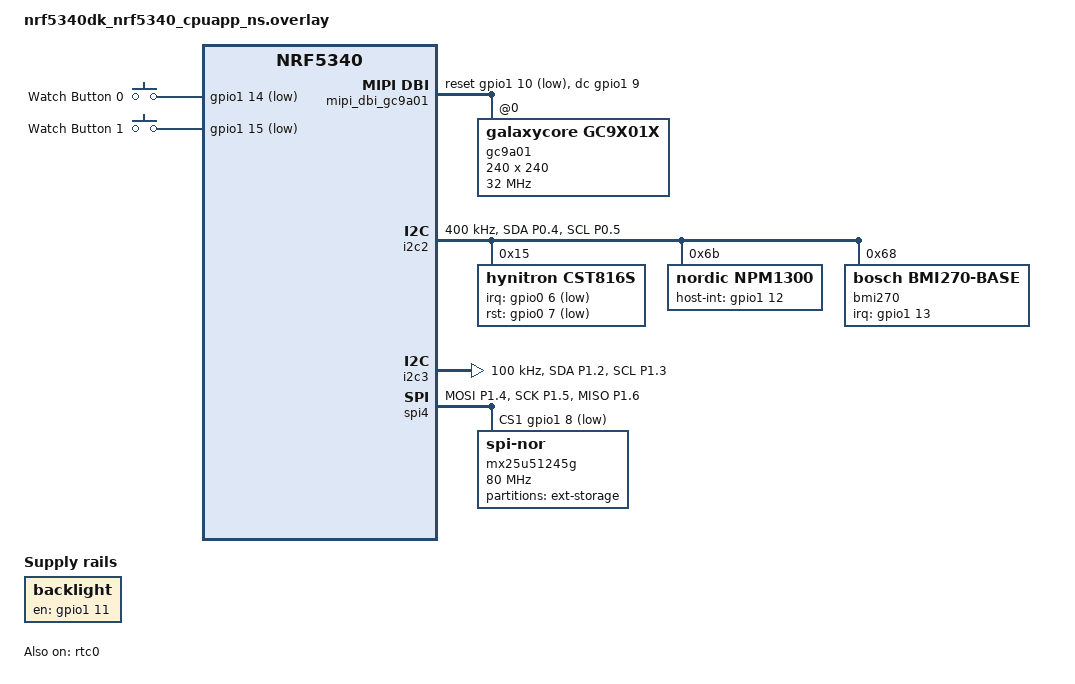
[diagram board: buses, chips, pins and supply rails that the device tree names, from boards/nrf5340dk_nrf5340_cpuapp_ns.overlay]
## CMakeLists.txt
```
cmake_minimum_required(VERSION 3.20.0)
find_package(Zephyr REQUIRED HINTS $ENV{ZEPHYR_BASE})
project(smartwatch)

target_sources(app PRIVATE
    src/main.c
    src/rtc/rtc.c
    src/pmic/pmic.c
    src/sensor/sensor.c
    src/touch/touch.c
    src/display/display.c
    src/display/watchface.c
    src/display/test_screen.c
    src/display/module_screen.c
    src/expansion/expansion.c
    src/expansion/expansion_transport.c
    src/expansion/expansion_mock.c
    src/storage/storage.c
    src/ble/ble.c
    src/buttons/buttons.c
)

target_include_directories(app PRIVATE src)
```

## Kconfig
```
# FinWatch application Kconfig

menu "FinWatch"

config FINWATCH_EXPANSION_MOCK
	bool "Use a mock expansion module instead of real I2C"
	default n
	help
	  Replaces the I2C transport for the modular expansion port with an
	  in-memory mock that serves a canned "Test Dial" descriptor and a
	  rotating input report.

	  This lets the enumeration state machine, descriptor validation and
	  module UI be developed and tested before any physical expansion
	  hardware exists. It also exposes fault-injection hooks so the
	  host's descriptor-rejection paths can actually be exercised.

	  Turn this off to talk to a real module over i2c3.

endmenu

source "Kconfig.zephyr"
```

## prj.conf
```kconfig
# =============================================================================
# FinWatch — nRF5340 smartwatch (NCS v3.2.1)
# =============================================================================
# Rules:
#  - No inline comments after values (Kconfig treats them as part of the value)
#  - Symbols auto-selected by DT (e.g. MFD_NPM1300) must NOT be set here

# ---- Debug / UART console ----
CONFIG_SERIAL=y
CONFIG_UART_CONSOLE=y
CONFIG_PRINTK=y
CONFIG_LOG=y
# 0=off 1=ERR 2=WRN 3=INF 4=DBG
CONFIG_LOG_DEFAULT_LEVEL=3

# ---- Buses ----
CONFIG_I2C=y
CONFIG_SPI=y
CONFIG_GPIO=y

# ---- Input subsystem (touch + buttons) ----
CONFIG_INPUT=y
# NCS >= 4.4: rename to CONFIG_INPUT_CST8XX=y
CONFIG_INPUT_CST816S=y

# ---- Display: MIPI DBI + GC9A01 ----
CONFIG_DISPLAY=y
CONFIG_MIPI_DBI=y
CONFIG_GC9X01X=y

# ---- LVGL ----
CONFIG_LVGL=y
CONFIG_LV_COLOR_DEPTH_16=y
# LV_Z_DISPLAY_DEV_PATH removed — NCS v3.2.1 auto-discovers from zephyr,display chosen node
CONFIG_LV_Z_MEM_POOL_SIZE=65536
# mipi_dbi_spi.c uses blocking spi_write(), so double-buffering (LV_Z_DOUBLE_VDB)
# gives no real parallelism — rendering can't overlap a blocking flush anyway.
# A single full-frame buffer instead means one render+flush pass per screen
# update rather than several chunked ones, which is what was causing choppy
# full-screen slide animations. 240x240x2 bytes = 115200 B for one buffer.
CONFIG_LV_Z_VDB_SIZE=50
CONFIG_LV_Z_FULL_REFRESH=y

# ---- Built-in LVGL fonts used by watchface.c ----
CONFIG_LV_FONT_MONTSERRAT_28=y
CONFIG_LV_FONT_MONTSERRAT_14=y

# ---- Sensors: BMI270 ----
# The Bosch driver exposes the sensor's any-motion feature as SENSOR_TRIG_MOTION
# on INT1, so unlike the previous part we let the driver own the interrupt
# instead of programming the feature registers by hand. The CPU stays asleep
# until the wrist actually moves.
CONFIG_SENSOR=y
CONFIG_BMI270=y
CONFIG_BMI270_TRIGGER_GLOBAL_THREAD=y

# ---- PMIC: npm1300 ----
# MFD_NPM1300 / REGULATOR_NPM1300 / CHARGER_NPM1300 are auto-selected
# from the DT compatible strings — do NOT set them here in NCS v3.2.1.
CONFIG_MFD=y
CONFIG_REGULATOR=y
CONFIG_REGULATOR_FIXED=y
CONFIG_CHARGER=y

# ---- External SPI NOR flash (MX25U51245G) ----
CONFIG_FLASH=y
CONFIG_FLASH_PAGE_LAYOUT=y
CONFIG_FLASH_MAP=y
CONFIG_SPI_NOR=y
CONFIG_SPI_NOR_SFDP_MINIMAL=y
# Allow flash_area_open() to resolve DT_FIXED_PARTITION_ID() values directly,
# bypassing the NCS PM macro override for external flash DT partitions.
CONFIG_FLASH_MAP_LABELS=y

# ---- LittleFS on external flash ----
CONFIG_FILE_SYSTEM=y
CONFIG_FILE_SYSTEM_LITTLEFS=y

# ---- Counter API (LFXO RTC) ----
CONFIG_COUNTER=y

# ---- Modular expansion port (I2C pogo pins) ----
# CRC gates subsys/crc, which provides crc16_ccitt() for descriptor integrity.
CONFIG_CRC=y
# Mock module on by default so the expansion UI is testable without hardware.
# Set to n to talk to a real module over i2c3.
CONFIG_FINWATCH_EXPANSION_MOCK=y

# ---- Bluetooth LE ----
# BT_HCI_IPC is auto-selected by the nRF5340 board Kconfig
CONFIG_BT=y
CONFIG_BT_PERIPHERAL=y
CONFIG_BT_DEVICE_NAME="FinWatch"
CONFIG_BT_DEVICE_NAME_DYNAMIC=y
CONFIG_BT_SMP=y
CONFIG_BT_SETTINGS=y
CONFIG_SETTINGS=y
# Use NVS on the internal flash "storage" partition for BT settings —
# decouples bonding storage from the external SPI-NOR (which may not be
# mounted, e.g. during DK bring-up). Default backend would otherwise be
# SETTINGS_FILE (since CONFIG_FILE_SYSTEM=y), which needs /lfs mounted.
CONFIG_NVS=y
CONFIG_SETTINGS_NVS=y
CONFIG_BT_BAS=y
CONFIG_BT_GATT_SERVICE_CHANGED=y

# ---- Memory ----
CONFIG_HEAP_MEM_POOL_SIZE=16384
CONFIG_MAIN_STACK_SIZE=4096

# ---- Power management ----
# CONFIG_PM is not available on nRF5340 in NCS v3.2.1 (HAS_PM=n).
# CONFIG_PM_DEVICE and CONFIG_PM_DEVICE_RUNTIME removed accordingly.
```

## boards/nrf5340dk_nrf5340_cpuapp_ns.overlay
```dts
/*
 * Smartwatch board overlay: nRF5340 Application Core (Non-Secure / TF-M)
 * Target: nRF5340 DK (nrf5340dk/nrf5340/cpuapp/ns) for bring-up / prototyping.
 *
 * ── nRF5340 DK pin map ───────────────────────────────────────────────────────
 *  TAKEN by DK hardware:
 *    UART0 console : P0.20 TX / P0.22 RX / P0.19 RTS / P0.21 CTS
 *    UART1 arduino : P1.01 TX / P1.00 RX / P0.11 RTS / P0.10 CTS
 *    QSPI int.flash: P0.13-P0.18
 *    DK LEDs       : P0.28 LED0 / P0.29 LED1 / P0.30 LED2 / P0.31 LED3
 *    DK Buttons    : P0.23 SW1  / P0.24 SW2  / P0.08 SW3  / P0.09 SW4
 *    Arduino I2C   : P1.02 SDA / P1.03 SCL  (TWIM1 = secure under TF-M)
 *    Arduino SPI   : P1.13 MOSI / P1.14 MISO / P1.15 SCK  ← disabled below
 *    ADC / analog  : P0.04-P0.07 (A0-A3), P0.25 A4, P0.26 A5
 *
 *  All signals in this file use the Arduino header (P3) unless noted.
 *
 * ── Our pin assignments for DK bring-up ─────────────────────────────────────
 *  I2C2 (TWIM2)  SDA P0.04 (A0)    SCL P0.05 (A1)
 *  SPI4 (SPIM4)  MOSI P1.04 (D2)   SCK P1.05 (D3)   MISO P1.06 (D4)
 *  I2C3 (TWIM3)  SDA P1.02 (D14)   SCL P1.03 (D15) : expansion port
 *  DISP_CS       P1.07 (D5)  : SPI4 cs-gpios[0]
 *  FLASH_CS      P1.08 (D6)  : SPI4 cs-gpios[1]
 *  DISP_DC       P1.09 (D7)
 *  DISP_RST      P1.10 (D8)
 *  DISP_BL       P1.11 (D9)
 *  TOUCH_IRQ     P0.06 (A2)
 *  TOUCH_RST     P0.07 (A3)
 *  PMIC_INT      P1.12 (D10)
 *  IMU_INT1      P1.13 (D11)
 *  BTN0          P1.14 (D12)
 *  BTN1          P1.15 (D13)
 *
 * ── Peripheral / bus map ─────────────────────────────────────────────────────
 * nRF5340 groups serial peripherals into "boxes" by base address; nodes in
 * the same box are mutually exclusive (build-time BUILD_ASSERT enforces it).
 *
 *  box 0 @8000  i2c0/spi0/uart0: UARTE0 = console (DK default)
 *  box 1 @9000  i2c1/spi1/uart1: TF-M secure logging UART (unavailable to NS)
 *  box 2 @b000  i2c2/spi2/uart2: TWIM2 = main I2C: CST816S + BMI270 + npm1300
 *  box 3 @c000  i2c3/spi3/uart3: TWIM3 = expansion port (SPIM3 disabled)
 *  box 4 @a000  spi4 only      : SPIM4 = GC9A01 display + MX25U51245G flash
 *
 * SPIM4 is the only box with no I2C/UART sibling, and is the only instance
 * that runs at 32 MHz (the rest cap at 8 MHz): so the display lives there
 * and box 3 is left free for the expansion I2C.
 *
 * EXPANSION PORT PINS: production board uses P0.30/P0.31; the DK uses
 * P1.02/P1.03 because P0.30/P0.31 have LEDs wired to them on the DK.
 * See the i2c3_default pinctrl block below.
 */

#include <zephyr/dt-bindings/pinctrl/nrf-pinctrl.h>
#include <zephyr/dt-bindings/display/panel.h>
#include <zephyr/dt-bindings/input/input-event-codes.h>

/* ======================================================================
 * Pin-control groups
 * ====================================================================== */

&pinctrl {

    /* ---- I2C2 (main bus): A0 / A1 on Arduino header ---- */
    i2c2_default: i2c2_default {
        group1 {
            psels = <NRF_PSEL(TWIM_SDA, 0, 4)>,   /* P0.04: Arduino A0 */
                    <NRF_PSEL(TWIM_SCL, 0, 5)>;    /* P0.05: Arduino A1 */
            bias-pull-up;
        };
    };
    i2c2_sleep: i2c2_sleep {
        group1 {
            psels = <NRF_PSEL(TWIM_SDA, 0, 4)>,
                    <NRF_PSEL(TWIM_SCL, 0, 5)>;
            low-power-enable;
        };
    };

    /*
     * SPI4 (SPIM4): display + flash on D2/D3/D4 (Arduino digital header).
     *
     * Moved here from SPIM3 to free peripheral box 3 (i2c3/spi3/uart3) for
     * the expansion port's TWIM3.  SPIM4 is its own box (@a000, no i2c4/uart4
     * sibling) so it conflicts with nothing.
     *
     * Bonus: SPIM4 tops out at 32 MHz vs 8 MHz for SPIM0-3, so the display
     * flush is 4x faster than it was on SPIM3.
     */
    /*
     * NOTE: deliberately NOT named spi4_default/spi4_sleep: the DK's
     * nrf5340_cpuapp_common-pinctrl.dtsi already defines those (at
     * P1.13-P1.15 for arduino_spi).  Reusing the names would merge into
     * those nodes and override properties piecemeal, which is easy to
     * misread.  Distinct names leave the DK's states unused and inert.
     */
    spi4_disp_default: spi4_disp_default {
        group1 {
            psels = <NRF_PSEL(SPIM_MOSI, 1, 4)>,  /* P1.04: Arduino D2 */
                    <NRF_PSEL(SPIM_SCK,  1, 5)>;   /* P1.05: Arduino D3 */
        };
        group2 {
            psels = <NRF_PSEL(SPIM_MISO, 1, 6)>;  /* P1.06: Arduino D4 (flash read) */
            bias-pull-down;
        };
    };
    spi4_disp_sleep: spi4_disp_sleep {
        group1 {
            psels = <NRF_PSEL(SPIM_MOSI, 1, 4)>,
                    <NRF_PSEL(SPIM_SCK,  1, 5)>,
                    <NRF_PSEL(SPIM_MISO, 1, 6)>;
            low-power-enable;
        };
    };

    /*
     * I2C3 (TWIM3): modular expansion port (pogo pins).
     *
     * PRODUCTION BOARD: SDA = P0.30, SCL = P0.31.
     * DK BRING-UP:      SDA = P1.02, SCL = P1.03 (Arduino D14/D15).
     *
     * P0.30/P0.31 are LED2/LED3 on the nRF5340 DK, with real LEDs and series
     * resistors wired to the rail.  I2C is open-drain and needs the line to
     * float high through a pull-up; the LED path to VDD injects current and
     * fights a proper logic low.  So the DK uses the Arduino I2C pins, which
     * are free because i2c1 (arduino_i2c) is disabled below.
     *
     * When moving to the custom PCB, swap the psels here to (0, 30)/(0, 31).
     */
    i2c3_default: i2c3_default {
        group1 {
            psels = <NRF_PSEL(TWIM_SDA, 1, 2)>,   /* P1.02: Arduino D14/SDA */
                    <NRF_PSEL(TWIM_SCL, 1, 3)>;    /* P1.03: Arduino D15/SCL */
            bias-pull-up;
        };
    };
    i2c3_sleep: i2c3_sleep {
        group1 {
            psels = <NRF_PSEL(TWIM_SDA, 1, 2)>,
                    <NRF_PSEL(TWIM_SCL, 1, 3)>;
            low-power-enable;
        };
    };
};

/* ======================================================================
 * RTC0: 32.768 kHz counter for the RTC module (rtc.c)
 * Both rtc0/rtc1 are disabled in the nRF5340 base DTSI; enable rtc0 here.
 * ====================================================================== */

&rtc0 {
    status = "okay";
};

/* ======================================================================
 * Disable peripherals that conflict with our pin assignments
 * ====================================================================== */

/* TWIM1 = peripheral 9, SECURE under TF-M */
&i2c1 {
    status = "disabled";
};

/*
 * SPIM3 is now unused: the display and flash moved to SPIM4 so that this
 * peripheral box (i2c3/spi3/uart3 @c000) is free for the expansion TWIM3.
 */
&spi3 {
    status = "disabled";
};

/* ======================================================================
 * I2C2: main bus: touch + PMIC + IMU
 * ====================================================================== */

&i2c2 {
    status = "okay";
    pinctrl-0 = <&i2c2_default>;
    pinctrl-1 = <&i2c2_sleep>;
    pinctrl-names = "default", "sleep";
    clock-frequency = <400000>;  /* 400 kHz (fast mode) */

    /* ---- CST816S capacitive touch controller ---- */
    cst816s: cst816s@15 {
        compatible = "hynitron,cst816s";
        reg = <0x15>;
        status = "okay";
        irq-gpios = <&gpio0 6 GPIO_ACTIVE_LOW>;    /* P0.06: Arduino A2 */
        rst-gpios = <&gpio0 7 GPIO_ACTIVE_LOW>;    /* P0.07: Arduino A3 */
    };

    /* ---- npm1300 PMIC ---- */
    npm1300: pmic@6b {
        compatible = "nordic,npm1300";
        reg = <0x6b>;
        status = "okay";
        host-int-gpios = <&gpio1 12 GPIO_ACTIVE_HIGH>;  /* P1.12: Arduino D10 */

        npm1300_buck1: BUCK1 {
            compatible = "nordic,npm1300-regulator";
        };

        npm1300_buck2: BUCK2 {
            compatible = "nordic,npm1300-regulator";
        };

        npm1300_ldo1: LDO1 {
            compatible = "nordic,npm1300-regulator";
        };

        npm1300_ldo2: LDO2 {
            compatible = "nordic,npm1300-regulator";
        };

        /* Charger: update current-microamp to ~0.5C of your battery */
        npm1300_charger: charger {
            compatible = "nordic,npm1300-charger";
            term-microvolt          = <4200000>;
            term-warm-microvolt     = <4000000>;
            current-microamp        = <150000>;
            dischg-limit-microamp   = <1000000>;
            vbus-limit-microamp     = <500000>;
            thermistor-cold-millidegrees = <0>;
            thermistor-cool-millidegrees = <10000>;
            thermistor-warm-millidegrees = <45000>;
            thermistor-hot-millidegrees  = <60000>;
            thermistor-ohms = <10000>;
            thermistor-beta = <3380>;
        };
    };

    /*
     * BMI270: 6-axis IMU
     * SDO MUST be tied to GND → address 0x68 (HIGH = 0x69).
     *
     * irq-gpios index 0 is INT1, which the Bosch driver uses for feature
     * interrupts. CONFIG_BMI270_TRIGGER_GLOBAL_THREAD is enabled so the driver
     * owns the pin and delivers the sensor's any-motion event as a standard
     * SENSOR_TRIG_MOTION trigger: see the comment at the top of sensor.c.
     *
     * "bosch,bmi270-base" is listed first on purpose. The driver selects its
     * feature set with DT_INST_NODE_HAS_COMPAT(inst, bosch_bmi270_base); without
     * it the "max_fifo" set is chosen, whose any-motion feature registers are
     * NULL, and SENSOR_TRIG_MOTION then faults inside the driver. The binding is
     * matched from the second compatible.
     *
     * Range and output data rate are NOT devicetree properties for this part
     * (bosch,bmi270.yaml declares only irq-gpios); sensor.c sets them at runtime
     * with sensor_attr_set().
     */
    bmi270: bmi270@68 {
        compatible = "bosch,bmi270-base", "bosch,bmi270";
        reg = <0x68>;
        status = "okay";
        irq-gpios = <&gpio1 13 GPIO_ACTIVE_HIGH>;   /* INT1: P1.13, Arduino D11 */
    };
};

/* ======================================================================
 * I2C3: modular expansion port (pogo pins: SDA, SCL, +3V3, GND)
 *
 * Deliberately NOT the main I2C2 bus: a module that hangs the bus (e.g.
 * unplugged mid-transaction, holding SDA low) must not be able to take
 * down the touch controller, PMIC and IMU with it.
 *
 * No child node here on purpose: modules are hot-plugged and discovered
 * at runtime, so src/expansion/ grabs the bus device directly with
 * DEVICE_DT_GET(DT_NODELABEL(i2c3)) and talks to the fixed module address.
 *
 * 100 kHz (not 400): conservative for pogo-pin contact resistance and
 * unshielded module wiring.  Raise once real modules prove reliable.
 * ====================================================================== */

&i2c3 {
    status = "okay";
    pinctrl-0 = <&i2c3_default>;
    pinctrl-1 = <&i2c3_sleep>;
    pinctrl-names = "default", "sleep";
    clock-frequency = <100000>;
};

/* ======================================================================
 * SPI4: GC9A01 display (MIPI DBI) + MX25U51245G NOR flash
 *
 * The DK common DTSI defines this node as `arduino_spi` and sets
 * cs-gpios = <&arduino_header 16> (= P1.12), which we use for PMIC_INT.
 * The cs-gpios below deliberately override that.
 * ====================================================================== */

&spi4 {
    status = "okay";
    pinctrl-0 = <&spi4_disp_default>;
    pinctrl-1 = <&spi4_disp_sleep>;
    pinctrl-names = "default", "sleep";
    /* Display CS index 0 (referenced by mipi_dbi_gc9a01 via spi-dev).
     * Flash CS at index 1. */
    cs-gpios = <&gpio1  7 GPIO_ACTIVE_LOW>,     /* P1.07: Arduino D5 : DISP_CS  */
               <&gpio1  8 GPIO_ACTIVE_LOW>;     /* P1.08: Arduino D6 : FLASH_CS */

    /* ---- Macronix MX25U51245G: 512 Mbit (64 MB) SPI NOR flash ---- */
    mx25u51245g: mx25u51245g@1 {
        compatible = "jedec,spi-nor";
        reg = <1>;
        spi-max-frequency = <80000000>;
        jedec-id    = [c2 25 3a];
        size        = <0x20000000>;             /* 512 Mbit */
        has-dpd;
        t-enter-dpd = <10000>;
        t-exit-dpd  = <30000>;

        partitions {
            compatible = "fixed-partitions";
            #address-cells = <1>;
            #size-cells = <1>;

            ext_storage_partition: partition@0 {
                label = "ext-storage";
                reg = <0x00000000 0x4000000>;   /* 64 MB */
            };
        };
    };
};

/* ======================================================================
 * Root-level nodes: watch buttons, backlight, MIPI DBI display, chosen
 * ====================================================================== */

/ {

    /*
     * Watch buttons on D12/D13 (external momentary switches to GND).
     * Named watch_btn* to avoid conflicting with the DK's existing
     * button0/button1 labels (which are the DK's own SW1-SW4 at P0.23-P0.24).
     */
    watch_buttons: watch_buttons {
        compatible = "gpio-keys";

        watch_btn0: watch_btn_0 {
            gpios = <&gpio1 14 (GPIO_PULL_UP | GPIO_ACTIVE_LOW)>;  /* P1.14: D12 */
            label = "Watch Button 0";
            zephyr,code = <INPUT_KEY_0>;
        };

        watch_btn1: watch_btn_1 {
            gpios = <&gpio1 15 (GPIO_PULL_UP | GPIO_ACTIVE_LOW)>;  /* P1.15: D13 */
            label = "Watch Button 1";
            zephyr,code = <INPUT_KEY_1>;
        };
    };

    /*
     * GC9A01 display: MIPI DBI over SPI3.
     * In NCS v3.2.1 / Zephyr 3.7 the zephyr,mipi-dbi-spi node is root-level
     * and references the SPI bus via spi-dev.  Display CS is cs-gpios[0] on
     * &spi4 above.
     */
    mipi_dbi_gc9a01: mipi_dbi_gc9a01 {
        compatible = "zephyr,mipi-dbi-spi";
        spi-dev = <&spi4>;
        dc-gpios    = <&gpio1  9 GPIO_ACTIVE_HIGH>;  /* P1.09: Arduino D7: DISP_DC  */
        reset-gpios = <&gpio1 10 GPIO_ACTIVE_LOW>;   /* P1.10: Arduino D8: DISP_RST */
        write-only;
        #address-cells = <1>;
        #size-cells = <0>;

        gc9a01: gc9a01@0 {
            compatible = "galaxycore,gc9x01x";
            reg = <0>;
            /* SPIM4 caps at 32 MHz. The old value of 64 MHz was silently
             * clamped (to 8 MHz back when this was on SPIM3). */
            mipi-max-frequency = <32000000>;
            pixel-format = <PANEL_PIXEL_FORMAT_RGB_565>;
            width  = <240>;
            height = <240>;
            display-inversion;
        };
    };

    /* ---- Display backlight (GPIO on/off) ---- */
    backlight: backlight {
        compatible = "regulator-fixed";
        regulator-name = "lcd-backlight";
        enable-gpios = <&gpio1 11 GPIO_ACTIVE_HIGH>;  /* P1.11: Arduino D9: DISP_BL */
        regulator-boot-on;
    };

    chosen {
        zephyr,display = &gc9a01;
        zephyr,touch   = &cst816s;
    };
};
```

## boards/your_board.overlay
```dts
/*
 * Rename this file to match your board target, e.g.:
 *   nrf5340dk_nrf5340_cpuapp_ns.overlay
 *
 * i2c1 (TWIM1) shares peripheral 9 with UART1, which TF-M marks SECURE.
 * Use i2c2 (TWIM2, peripheral 11 at 0x4000b000) instead — it is non-secure.
 *
 * CST816S default I2C address: 0x15
 */

#include <zephyr/dt-bindings/pinctrl/nrf-pinctrl.h>

/* Define pinctrl for i2c2 (no board default exists — it's disabled) */
&pinctrl {
	i2c2_default: i2c2_default {
		group1 {
			psels = <NRF_PSEL(TWIM_SDA, 0, 23)>,
			        <NRF_PSEL(TWIM_SCL, 0, 24)>;
			bias-pull-up;
		};
	};

	i2c2_sleep: i2c2_sleep {
		group1 {
			psels = <NRF_PSEL(TWIM_SDA, 0, 23)>,
			        <NRF_PSEL(TWIM_SCL, 0, 24)>;
			low-power-enable;
		};
	};
};

&i2c2 {
	status = "okay";
	pinctrl-0 = <&i2c2_default>;
	pinctrl-1 = <&i2c2_sleep>;
	pinctrl-names = "default", "sleep";

	cst816s: cst816s@15 {
		compatible = "hynitron,cst816s";
		reg = <0x15>;
		status = "okay";

		irq-gpios = <&gpio0 25 GPIO_ACTIVE_LOW>;
		rst-gpios = <&gpio0 26 GPIO_ACTIVE_LOW>;
	};
};

/* Disable i2c1 explicitly to avoid any conflict */
&i2c1 {
	status = "disabled";
};

/ {
	chosen {
		zephyr,touch = &cst816s;
	};
};
```

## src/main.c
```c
#include <zephyr/kernel.h>
#include <zephyr/logging/log.h>

#include "rtc/rtc.h"
#include "pmic/pmic.h"
#include "sensor/sensor.h"
#include "touch/touch.h"
#include "display/display.h"
#include "display/watchface.h"
#include "storage/storage.h"
#include "ble/ble.h"
#include "buttons/buttons.h"
#include "expansion/expansion.h"

LOG_MODULE_REGISTER(main, LOG_LEVEL_INF);

/* ---- Button handler ---- */

static void on_button(uint8_t btn_idx, btn_event_t event)
{
    if (btn_idx == 0 && event == BTN_SHORT_PRESS) {
        /* BTN0 short: cycle screens (only watch face for now) */
        LOG_DBG("BTN0 short");
    } else if (btn_idx == 0 && event == BTN_LONG_PRESS) {
        /* BTN0 long: reset step counter */
        sensor_reset_step_count();
        LOG_INF("Step counter reset");
    } else if (btn_idx == 1 && event == BTN_SHORT_PRESS) {
        /* BTN1 short: toggle backlight */
        LOG_DBG("BTN1 short");
    } else if (btn_idx == 1 && event == BTN_LONG_PRESS) {
        /* BTN1 long: (reserved for power menu) */
        LOG_INF("BTN1 long press");
    }
}

/* ---- Expansion module events ---- */

/* Runs on the expansion poll thread, logging only, no LVGL calls.
 * The module screen refreshes itself from its own LVGL timer. */
static void on_expansion_event(enum expansion_state state,
                               const struct expansion_info *info)
{
    switch (state) {
    case EXP_ACTIVE:
        LOG_INF("Module attached: \"%s\" (%04X:%04X)",
                info->name, info->vid, info->pid);
        break;
    case EXP_ABSENT:
        LOG_INF("Module detached");
        break;
    case EXP_ERROR:
        LOG_WRN("Module present but descriptor rejected");
        break;
    case EXP_ENUMERATING:
        LOG_DBG("Module enumerating");
        break;
    }
}

/* ---- Background update thread- 1 Hz watch-face refresh ---- */

#define UPDATE_STACK   1024
#define UPDATE_PRIO    9
#define UPDATE_PERIOD  1000   /* ms */

static void update_thread_fn(void *p1, void *p2, void *p3)
{
    ARG_UNUSED(p1); ARG_UNUSED(p2); ARG_UNUSED(p3);

    struct watch_settings settings = {
        .tz_offset_hours = 0,
        .step_goal       = 10000,
        .brightness      = 80,
    };
    storage_load_settings(&settings);

    uint8_t last_pct = 0;
    int batt_tick = 0;

    while (1) {
        /* ---- Time ---- */
        struct rtc_time t;
        rtc_get_time(&t);
        watchface_update_time(&t);

        /* ---- Battery: poll every 10 s ---- */
        if (++batt_tick >= 10) {
            batt_tick = 0;
            uint8_t pct = pmic_get_batt_percent();
            bool    chg = pmic_is_charging();
            watchface_update_battery(pct, chg);
            if (pct != last_pct) {
                ble_notify_battery(pct);
                last_pct = pct;
            }
        }

        /* ---- Steps ---- */
        watchface_update_steps(sensor_get_step_count());

        k_msleep(UPDATE_PERIOD);
    }
}

K_THREAD_DEFINE(update_tid, UPDATE_STACK,
                update_thread_fn, NULL, NULL, NULL,
                UPDATE_PRIO, 0, 0);

/* ---- Main ---- */

int main(void)
{
    int ret;

    LOG_INF("FinWatch booting...");

    ret = rtc_module_init();
    if (ret < 0) {
        LOG_WRN("RTC init: %d (time resets on power cycle)", ret);
    }

    ret = pmic_module_init();
    if (ret < 0) {
        LOG_WRN("PMIC init: %d", ret);
    }

    /* Pass display_wake as the motion callback, wrist-raise wakes screen */
    ret = sensor_module_init(display_wake);
    if (ret < 0) {
        LOG_WRN("Sensor init: %d", ret);
    }

    /*
     * DK bring-up: external SPI-NOR flash isn't populated on the DK.
     * fs_mount() hard-faults (SecureFault) rather than failing gracefully,
     * because DT_FIXED_PARTITION_ID(ext_storage_partition) collides with
     * the DK's internal storage_partition ID, a separate bug to revisit
     * once real flash hardware is wired up. Skip storage until then.
     */
#if 0
    ret = storage_module_init();
    if (ret < 0) {
        LOG_WRN("Storage init: %d", ret);
    }
#endif

    ret = buttons_module_init(on_button);
    if (ret < 0) {
        LOG_WRN("Buttons init: %d", ret);
    }

    /* Touch must be ready before display so LVGL indev is registered */
    ret = touch_module_init();
    if (ret < 0) {
        LOG_WRN("Touch init: %d", ret);
    }

    ret = display_module_init();
    if (ret < 0) {
        LOG_ERR("Display init: %d: halting", ret);
        return ret;
    }

    ret = ble_module_init();
    if (ret < 0) {
        LOG_WRN("BLE init: %d", ret);
    }

    /* Expansion port is optional hardware, never let it block boot. */
    ret = expansion_module_init(on_expansion_event);
    if (ret < 0) {
        LOG_WRN("Expansion init: %d", ret);
    }

    LOG_INF("FinWatch running");
    return 0;
}
```
